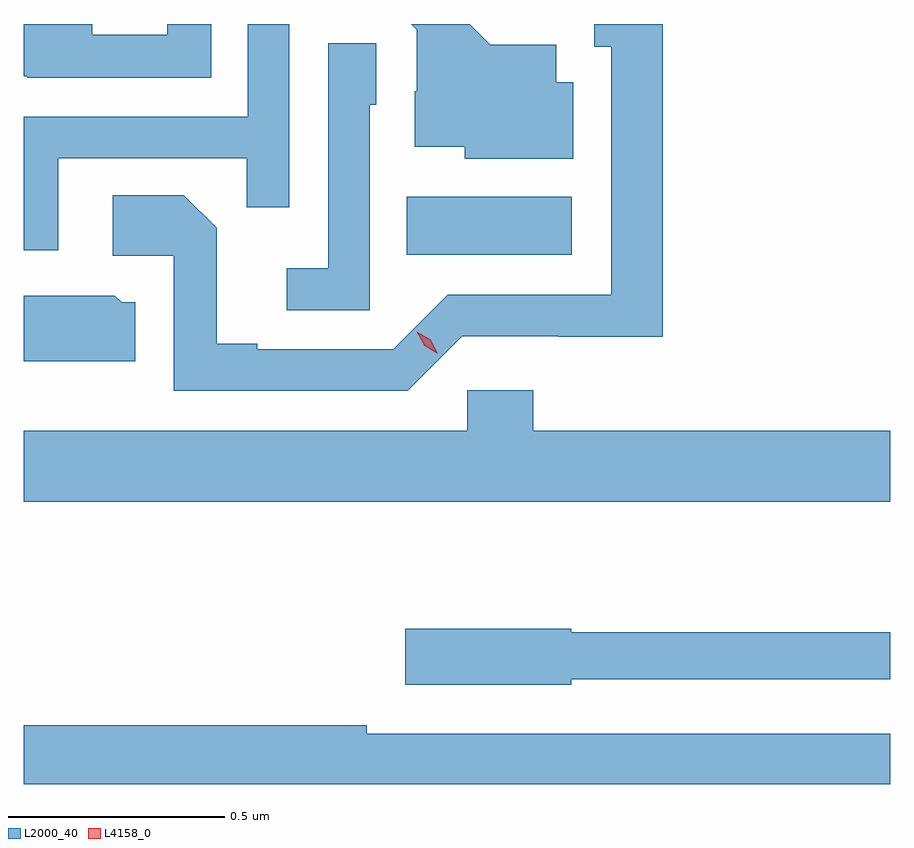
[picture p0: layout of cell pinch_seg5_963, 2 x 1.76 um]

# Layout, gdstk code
import gdstk
lib = gdstk.Library(unit=1e-6, precision=1e-09)
def R(c, l, rs):  # rectangles x0, y0, x1, y1
    for r in rs: c.add(gdstk.rectangle(r[:2], r[2:], *l))
def P(c, l, *ps):  # polygons
    for p in ps: c.add(gdstk.Polygon(p, *l))
L2000_40 = (2000, 40)
L4158_0 = (4158, 0)

pinch_seg5_963 = lib.new_cell('pinch_seg5_963')
R(pinch_seg5_963, L2000_40, [(684.598,894.626,684.979,894.76)])
P(pinch_seg5_963, L2000_40, [(684.726,894.438),(684.948,894.438),(684.948,894.437),(685.189,894.437),(685.189,895.159),(685.031,895.159),(685.031,895.107),(685.07,895.107),(685.07,894.534),(684.693,894.534),(684.567,894.408),(684.253,894.408),(684.253,894.421),(684.159,894.421),(684.159,894.688),(684.083,894.764),(683.919,894.764),(683.919,894.624),(684.06,894.624),(684.06,894.312),(684.6,894.312)],
  [(684.146,895.159),(684.045,895.159),(684.045,895.134),(683.872,895.134),(683.872,895.159),(683.714,895.159),(683.714,895.038),(683.722,895.038),(683.722,895.035),(684.146,895.035)],
  [(683.793,894.849),(684.229,894.849),(684.229,894.736),(684.327,894.736),(684.327,895.159),(684.231,895.159),(684.231,894.945),(683.714,894.945),(683.714,894.636),(683.793,894.636)],
  [(684.982,895.024),(684.943,895.024),(684.943,895.111),(684.791,895.111),(684.743,895.159),(684.608,895.159),(684.621,895.146),(684.621,895.004),(684.617,895.004),(684.617,894.875),(684.732,894.875),(684.732,894.848),(684.982,894.848)],
  [(684.513,894.972),(684.528,894.972),(684.528,895.115),(684.417,895.115),(684.417,894.595),(684.321,894.595),(684.321,894.498),(684.513,894.498)],
  [(683.971,894.516),(683.94,894.516),(683.924,894.532),(683.79,894.532),(683.79,894.531),(683.714,894.531),(683.714,894.38),(683.971,894.38)],
  [(685.714,894.22),(684.89,894.22),(684.89,894.313),(684.738,894.313),(684.738,894.22),(683.714,894.22),(683.714,894.056),(685.714,894.056)],
  [(684.978,893.646),(685.714,893.646),(685.714,893.755),(684.978,893.755),(684.978,893.763),(684.594,893.763),(684.594,893.633),(684.978,893.633)],
  [(685.714,893.52),(684.506,893.52),(684.506,893.54),(683.714,893.54),(683.714,893.404),(685.714,893.404)])
P(pinch_seg5_963, L4158_0, [(684.67,894.397),(684.639,894.416),(684.621,894.448),(684.621,894.448),(684.621,894.448),(684.653,894.43),(684.67,894.397),(684.67,894.397)])

lib.write_gds('pinch_seg5_963.gds')
